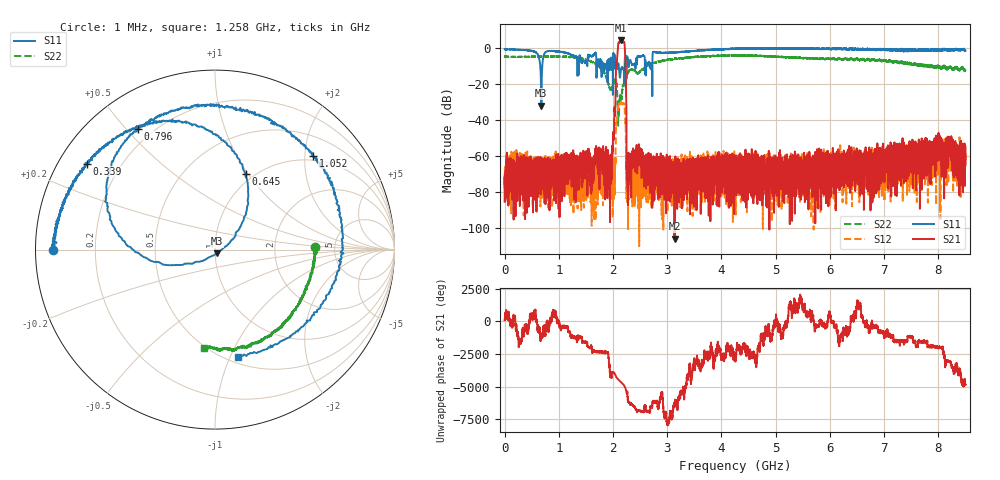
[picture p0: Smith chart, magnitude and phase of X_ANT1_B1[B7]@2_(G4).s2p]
#  HZ  S  RI  R  50.00
! Rohde & Schwarz Vector Network Analyzer
! Rohde-Schwarz,ZNBT8-20Port,1318700624101681,3.50
! Created: UTC 7/15/2025, 2:12:54 PM
! freq[Hz]  re:S1010  im:S1010  re:S0510  im:S0510  re:S1005  im:S1005  re:S55  im:S55
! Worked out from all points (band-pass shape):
!   8500 points, 1 MHz to 8.5 GHz, reference 50 ohm
!   highest |S21| = 3.97 dB at 2.143 GHz (marker M1); lowest = -106.2 dB at 3.135 GHz (marker M2)
!   |S21| within 3 dB of the highest: 2.093 GHz to 2.216 GHz (122.9 MHz wide, 5.7 % of centre)
!   lowest |S11| = -32.2 dB at 678 MHz (marker M3), VSWR 1.05, Z = 51.1 - j2.22 ohm
!   |S11| at or under -10 dB: 658 MHz to 696.3 MHz (38.37 MHz wide, 5.67 % of centre); 2.063 GHz to 2.089 GHz (26.27 MHz wide, 1.27 % of centre); 2.107 GHz to 2.214 GHz (107.6 MHz wide, 4.98 % of centre)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
!   |S22| runs from -43.4 to -4.2 dB; largest |S21 - S12| = 1.6
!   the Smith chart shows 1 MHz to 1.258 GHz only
!   S11 on the Smith chart (normalised r, x): 1 MHz: 0.05, -0.00; 339 MHz: 0.08, +0.30; 645 MHz: 0.92, +0.97; 796 MHz: 0.15, +0.54; 1.052 GHz: 0.89, +2.19; 1.258 GHz: 0.56, -1.07
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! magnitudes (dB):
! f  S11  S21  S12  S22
! 1 MHz  -0.9  -85.7  -74.6  -5.1
! 339 MHz  -1.3  -63.8  -70.5  -5.1
! 645 MHz  -6.9  -67.9  -64.8  -4.9
! 678 MHz  -32.2  -65.7  -64.4  -5.0
! 796 MHz  -2.0  -67.6  -64.3  -4.9
! 1.052 GHz  -2.4  -67.1  -69.1  -4.9
! 1.258 GHz  -4.3  -65.8  -70.2  -5.2
! 1.418 GHz  -8.3  -59.5  -63.0  -6.0
! 1.952 GHz  -7.7  -66.1  -67.2  -23.3
! 2.013 GHz  -3.8  -50.0  -80.8  -19.4
! 2.089 GHz  -10.0  -0.6  -34.8  -36.1
! 2.143 GHz  -13.2  4.0  -30.2  -28.3
! 2.205 GHz  -15.3  2.9  -31.3  -20.2
! 2.293 GHz  -10.0  -67.1  -74.8  -13.0
! 2.495 GHz  -4.8  -56.5  -75.4  -13.3
! 2.685 GHz  -10.9  -67.0  -71.4  -9.3
! 2.834 GHz  -2.8  -84.0  -71.9  -7.7
! 3.135 GHz  -2.7  -106.2  -74.5  -6.1
! 4.251 GHz  -0.6  -60.3  -63.6  -4.4
! 5.667 GHz  -0.3  -77.6  -64.4  -6.1
! 7.084 GHz  -0.9  -61.3  -65.8  -7.2
! 8.5 GHz  -1.8  -55.3  -63.3  -12.2
